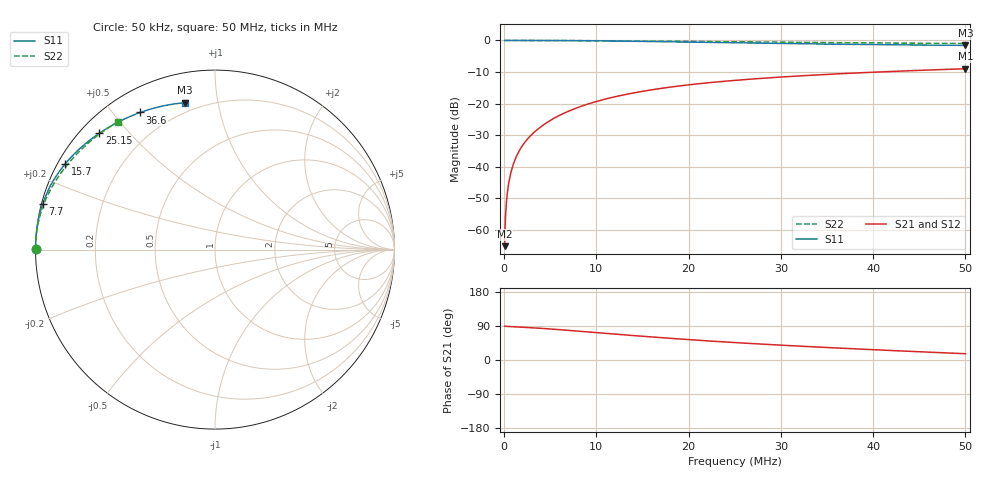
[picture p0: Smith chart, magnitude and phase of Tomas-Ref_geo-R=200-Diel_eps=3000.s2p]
! TOUCHSTONE file generated by CST MICROWAVE STUDIO
! Date and time: Sat Oct 08 09:43:46 2016
! Project name: tomas_icrh_linear_2016-plasma-Rdiel=200.cst
! Header version: 2015
! Port assignment regex: !\s*Touchstone port\s*([0-9]+)\s*=\s*CST MWS port\s*([0-9]+)\s*\(\"(.*)\"\)(\s*mode\s*([0-9]+))?.*
! Touchstone port assignment:
! Touchstone port 1 = CST MWS port 1 ("")
! Touchstone port 2 = CST MWS port 2 ("")
# MHZ S MA R 50
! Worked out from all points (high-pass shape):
!   1000 points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, 50 kHz to 50 MHz, reference 50 ohm
!   highest |S21| = -8.95 dB at 50 MHz (marker M1); lowest = -65.1 dB at 50 kHz (marker M2)
!   |S21| within 3 dB of the highest: 28.11 MHz to end of sweep
!   lowest |S11| = -1.6 dB at 50 MHz (marker M3), VSWR 11.13, Z = 7.45 + j40.3 ohm
!   |S11| at or under -10 dB: nowhere
!   |S22| runs from -1.0 to 0.0 dB; largest |S21 - S12| = 1e-06
!   S11 on the Smith chart (normalised r, x): 50 kHz: 0.00, +0.00; 7.7 MHz: 0.00, +0.13; 15.7 MHz: 0.02, +0.27; 25.15 MHz: 0.05, +0.41; 36.6 MHz: 0.09, +0.59; 50 MHz: 0.15, +0.81
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0.05  1 179.9  0.0005558 89.2  0.0005558 89.2  1 179.9
0.15  1 179.7  0.001668 88.9  0.001668 88.9  1 179.8
0.35  1 179.3  0.003883 88.6  0.003883 88.6  1 179.6
0.4  1 179.2  0.004435 88.5  0.004435 88.5  1 179.5
0.6  1 178.8  0.006638 88.3  0.006638 88.3  1 179.3
0.8  1 178.4  0.008832 88.0  0.008832 88.0  1 179.0
1.05  1 177.9  0.01156 87.7  0.01156 87.7  0.9999 178.7
1.7  0.9999 176.7  0.01861 86.9  0.01861 86.9  0.9998 177.9
2.7  0.9996 174.8  0.02936 85.5  0.02936 85.5  0.9995 176.7
4  0.9987 172.3  0.04326 83.6  0.04326 83.6  0.9989 175.1
5.65  0.9969 169.1  0.06137 80.7  0.06137 80.7  0.9977 173.1
7.7  0.993 165.1  0.08377 76.8  0.08377 76.8  0.9954 170.6
8.4  0.9912 163.7  0.0913 75.4  0.0913 75.4  0.9944 169.8
11.65  0.9811 157.6  0.1249 69.0  0.1249 69.0  0.9886 165.9
15.7  0.9618 150.2  0.163 61.3  0.163 61.3  0.9787 161.2
16.7  0.9566 148.5  0.1717 59.5  0.1717 59.5  0.9759 160.1
25.05  0.9147 135.0  0.2338 45.9  0.2338 45.9  0.9517 151.1
25.15  0.9142 134.9  0.2345 45.8  0.2345 45.8  0.9514 151.0
33.35  0.881 123.0  0.2818 34.9  0.2818 34.9  0.9296 142.8
36.6  0.8702 118.6  0.2983 31.1  0.2983 31.1  0.9218 139.7
41.7  0.8553 111.9  0.3221 25.3  0.3221 25.3  0.9105 134.9
50  0.8351 101.5  0.3569 16.5  0.3569 16.5  0.8936 127.3
